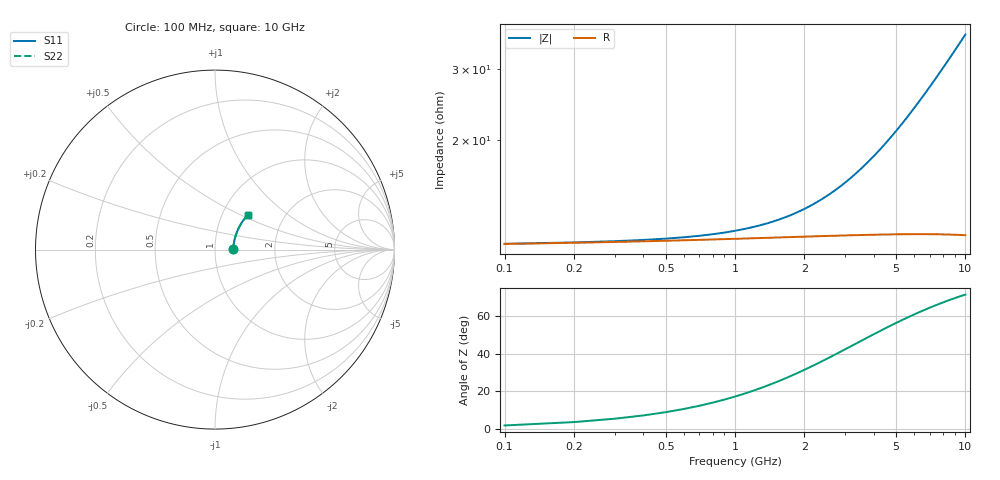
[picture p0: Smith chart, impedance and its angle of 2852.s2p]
# Hz S RI R 50.00
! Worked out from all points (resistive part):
!   100 points, 100 MHz to 10 GHz, reference 50 ohm
!   read as one part in series: R = 11 ohm at 100 MHz
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1e8  0.0995 0.00224  0.9005 -0.00346  0.9005 -0.00346  0.0995 0.00224
2e8  0.1001 0.00448  0.8999 -0.00691  0.8999 -0.00691  0.1001 0.00448
7e8  0.102 0.0156  0.898 -0.0241  0.898 -0.0241  0.102 0.0156
1e9  0.103 0.0222  0.8969 -0.0344  0.8969 -0.0344  0.103 0.0222
1.2e9  0.1037 0.0266  0.8962 -0.0412  0.8962 -0.0412  0.1037 0.0266
1.4e9  0.1044 0.031  0.8954 -0.048  0.8954 -0.048  0.1044 0.031
1.8e9  0.1059 0.0398  0.8938 -0.0616  0.8938 -0.0616  0.1059 0.0398
2.1e9  0.1072 0.0463  0.8924 -0.0718  0.8924 -0.0718  0.1072 0.0463
2.5e9  0.1091 0.0549  0.8904 -0.0853  0.8904 -0.0853  0.1091 0.0549
2.9e9  0.1112 0.0635  0.8881 -0.0988  0.8881 -0.0988  0.1112 0.0635
3.4e9  0.1142 0.0741  0.8849 -0.1154  0.8849 -0.1154  0.1142 0.0741
4.4e9  0.1212 0.0949  0.8772 -0.1484  0.8772 -0.1484  0.1212 0.0949
5.1e9  0.127 0.109  0.871 -0.171  0.871 -0.171  0.127 0.109
5.9e9  0.1344 0.1247  0.8628 -0.1964  0.8628 -0.1964  0.1344 0.1247
6.3e9  0.1385 0.1323  0.8584 -0.209  0.8584 -0.209  0.1385 0.1323
6.7e9  0.1427 0.1398  0.8538 -0.2213  0.8538 -0.2213  0.1427 0.1398
7.1e9  0.1472 0.1471  0.8489 -0.2335  0.8489 -0.2335  0.1472 0.1471
7.5e9  0.1518 0.1542  0.8438 -0.2456  0.8438 -0.2456  0.1518 0.1542
7.9e9  0.1567 0.1612  0.8384 -0.2575  0.8384 -0.2575  0.1567 0.1612
8.4e9  0.163 0.1697  0.8315 -0.2721  0.8315 -0.2721  0.163 0.1697
9.2e9  0.1736 0.1828  0.8197 -0.2949  0.8197 -0.2949  0.1736 0.1828
1e10  0.185 0.195  0.8072 -0.317  0.8072 -0.317  0.185 0.195
